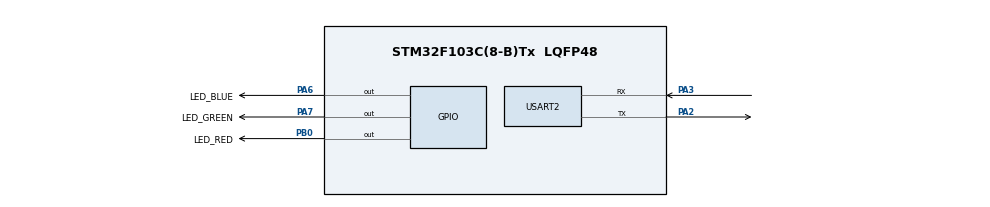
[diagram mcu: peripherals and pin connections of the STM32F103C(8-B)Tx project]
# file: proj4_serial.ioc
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Dma.Request0=USART2_RX
Dma.Request1=USART2_TX
Dma.USART2_RX.0.Direction=DMA_PERIPH_TO_MEMORY
Dma.USART2_RX.0.Instance=DMA1_Channel6
Dma.USART2_RX.0.MemDataAlignment=DMA_MDATAALIGN_BYTE
Dma.USART2_RX.0.MemInc=DMA_MINC_ENABLE
Dma.USART2_RX.0.Mode=DMA_NORMAL
Dma.USART2_RX.0.PeriphDataAlignment=DMA_PDATAALIGN_BYTE
Dma.USART2_RX.0.PeriphInc=DMA_PINC_DISABLE
Dma.USART2_RX.0.Priority=DMA_PRIORITY_LOW
Dma.USART2_TX.1.Direction=DMA_MEMORY_TO_PERIPH
Dma.USART2_TX.1.Instance=DMA1_Channel7
Dma.USART2_TX.1.MemDataAlignment=DMA_MDATAALIGN_BYTE
Dma.USART2_TX.1.MemInc=DMA_MINC_ENABLE
Dma.USART2_TX.1.Mode=DMA_NORMAL
Dma.USART2_TX.1.PeriphDataAlignment=DMA_PDATAALIGN_BYTE
Dma.USART2_TX.1.PeriphInc=DMA_PINC_DISABLE
Dma.USART2_TX.1.Priority=DMA_PRIORITY_LOW
Mcu.Family=STM32F1
Mcu.Name=STM32F103C(8-B)Tx
Mcu.Package=LQFP48
NVIC.DMA1_Channel6_IRQn=true\:0\:0\:false\:false\:true\:false\:true\:true
NVIC.DMA1_Channel7_IRQn=true\:0\:0\:false\:false\:true\:false\:true\:true
NVIC.PriorityGroup=NVIC_PRIORITYGROUP_4
NVIC.USART2_IRQn=true\:0\:0\:false\:false\:true\:true\:true\:true
PA13.Mode=Serial_Wire
PA13.Signal=SYS_JTMS-SWDIO
PA14.Mode=Serial_Wire
PA14.Signal=SYS_JTCK-SWCLK
PA2.Mode=Asynchronous
PA2.Signal=USART2_TX
PA3.Mode=Asynchronous
PA3.Signal=USART2_RX
PA6.GPIO_Label=LED_BLUE
PA6.Signal=GPIO_Output
PA7.GPIO_Label=LED_GREEN
PA7.Signal=GPIO_Output
PB0.GPIO_Label=LED_RED
PB0.Signal=GPIO_Output
ProjectManager.HeapSize=0x200
ProjectManager.StackSize=0x400
ProjectManager.TargetToolchain=STM32CubeIDE
RCC.APB1Freq_Value=8000000
RCC.APB2Freq_Value=8000000
USART2.VirtualMode=VM_ASYNC
board=custom

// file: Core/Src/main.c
/* USER CODE BEGIN Header */
/**
  ******************************************************************************
  * @file           : main.c
  * @brief          : Main program body
  ******************************************************************************
  * @attention
  *
  * Copyright (c) 2024 STMicroelectronics.
  * All rights reserved.
  *
  * This software is licensed under terms that can be found in the LICENSE file
  * in the root directory of this software component.
  * If no LICENSE file comes with this software, it is provided AS-IS.
  *
  ******************************************************************************
  */
/* USER CODE END Header */
#include "main.h"

/* USER CODE BEGIN Includes */
#include <string.h>
/* USER CODE END Includes */

UART_HandleTypeDef huart2;
DMA_HandleTypeDef hdma_usart2_rx;
DMA_HandleTypeDef hdma_usart2_tx;

/* USER CODE BEGIN PV */
uint8_t receiveData[50];
/* USER CODE END PV */

void SystemClock_Config(void);
static void MX_GPIO_Init(void);
static void MX_DMA_Init(void);
static void MX_USART2_UART_Init(void);

/* USER CODE BEGIN 0 */
void HAL_UART_RxCpltCallback(UART_HandleTypeDef *huart){
	HAL_UART_Transmit_DMA(&huart2, receiveData , 2);
	GPIO_PinState state = GPIO_PIN_SET;
	if(receiveData[1] == '0'){
	  state = GPIO_PIN_RESET;
	}
	if(receiveData[0] == 'R'){
	  HAL_GPIO_WritePin(LED_RED_GPIO_Port, LED_RED_Pin, state);
	}else if(receiveData[0] == 'G'){
	  HAL_GPIO_WritePin(LED_GREEN_GPIO_Port, LED_GREEN_Pin, state);
	}else if(receiveData[0] == 'B'){
	  HAL_GPIO_WritePin(LED_BLUE_GPIO_Port, LED_BLUE_Pin, state);
	}
	HAL_UART_Receive_DMA(huart, receiveData, 2);
}

void HAL_UARTEx_RxEventCallback(UART_HandleTypeDef *huart, uint16_t Size){
	if(huart == &huart2){
		HAL_UART_Transmit_DMA(&huart2, receiveData, Size);
		GPIO_PinState state = GPIO_PIN_SET;
		if(receiveData[1] == '0'){
		  state = GPIO_PIN_RESET;
		}
		if(receiveData[0] == 'R'){
		  HAL_GPIO_WritePin(LED_RED_GPIO_Port, LED_RED_Pin, state);
		}else if(receiveData[0] == 'G'){
		  HAL_GPIO_WritePin(LED_GREEN_GPIO_Port, LED_GREEN_Pin, state);
		}else if(receiveData[0] == 'B'){
		  HAL_GPIO_WritePin(LED_BLUE_GPIO_Port, LED_BLUE_Pin, state);
		}

		HAL_UARTEx_ReceiveToIdle_DMA(&huart2, receiveData, sizeof(receiveData));
		__HAL_DMA_DISABLE_IT(&hdma_usart2_rx,DMA_IT_HT);
	}
}
/* USER CODE END 0 */

int main(void)
{

  /* MCU Configuration--------------------------------------------------------*/

  /* Reset of all peripherals, Initializes the Flash interface and the Systick. */
  HAL_Init();

  /* Configure the system clock */
  SystemClock_Config();

  /* Initialize all configured peripherals */
  MX_GPIO_Init();
  MX_DMA_Init();
  MX_USART2_UART_Init();
  /* USER CODE BEGIN 2 */

//  HAL_UART_Receive_DMA(&huart2, receiveData, 2 );
  HAL_UARTEx_ReceiveToIdle_DMA(&huart2, receiveData, sizeof(receiveData));
  __HAL_DMA_DISABLE_IT(&hdma_usart2_rx,DMA_IT_HT);
  /* USER CODE END 2 */

  /* Infinite loop */
  while (1)
  {

  }
}

void SystemClock_Config(void)
{
  RCC_OscInitTypeDef RCC_OscInitStruct = {0};
  RCC_ClkInitTypeDef RCC_ClkInitStruct = {0};

  /** Initializes the RCC Oscillators according to the specified parameters
  * in the RCC_OscInitTypeDef structure.
  */
  RCC_OscInitStruct.OscillatorType = RCC_OSCILLATORTYPE_HSI;
  RCC_OscInitStruct.HSIState = RCC_HSI_ON;
  RCC_OscInitStruct.HSICalibrationValue = RCC_HSICALIBRATION_DEFAULT;
  RCC_OscInitStruct.PLL.PLLState = RCC_PLL_NONE;
  if (HAL_RCC_OscConfig(&RCC_OscInitStruct) != HAL_OK)
  {
    Error_Handler();
  }

  /** Initializes the CPU, AHB and APB buses clocks
  */
  RCC_ClkInitStruct.ClockType = RCC_CLOCKTYPE_HCLK|RCC_CLOCKTYPE_SYSCLK
                              |RCC_CLOCKTYPE_PCLK1|RCC_CLOCKTYPE_PCLK2;
  RCC_ClkInitStruct.SYSCLKSource = RCC_SYSCLKSOURCE_HSI;
  RCC_ClkInitStruct.AHBCLKDivider = RCC_SYSCLK_DIV1;
  RCC_ClkInitStruct.APB1CLKDivider = RCC_HCLK_DIV1;
  RCC_ClkInitStruct.APB2CLKDivider = RCC_HCLK_DIV1;

  if (HAL_RCC_ClockConfig(&RCC_ClkInitStruct, FLASH_LATENCY_0) != HAL_OK)
  {
    Error_Handler();
  }
}

static void MX_USART2_UART_Init(void)
{

  huart2.Instance = USART2;
  huart2.Init.BaudRate = 115200;
  huart2.Init.WordLength = UART_WORDLENGTH_8B;
  huart2.Init.StopBits = UART_STOPBITS_1;
  huart2.Init.Parity = UART_PARITY_NONE;
  huart2.Init.Mode = UART_MODE_TX_RX;
  huart2.Init.HwFlowCtl = UART_HWCONTROL_NONE;
  huart2.Init.OverSampling = UART_OVERSAMPLING_16;
  if (HAL_UART_Init(&huart2) != HAL_OK)
  {
    Error_Handler();
  }

}

static void MX_DMA_Init(void)
{

  /* DMA controller clock enable */
  __HAL_RCC_DMA1_CLK_ENABLE();

  /* DMA interrupt init */
  /* DMA1_Channel6_IRQn interrupt configuration */
  HAL_NVIC_SetPriority(DMA1_Channel6_IRQn, 0, 0);
  HAL_NVIC_EnableIRQ(DMA1_Channel6_IRQn);
  /* DMA1_Channel7_IRQn interrupt configuration */
  HAL_NVIC_SetPriority(DMA1_Channel7_IRQn, 0, 0);
  HAL_NVIC_EnableIRQ(DMA1_Channel7_IRQn);

}

static void MX_GPIO_Init(void)
{
  GPIO_InitTypeDef GPIO_InitStruct = {0};

  /* GPIO Ports Clock Enable */
  __HAL_RCC_GPIOA_CLK_ENABLE();
  __HAL_RCC_GPIOB_CLK_ENABLE();

  /*Configure GPIO pin Output Level */
  HAL_GPIO_WritePin(GPIOA, LED_BLUE_Pin|LED_GREEN_Pin, GPIO_PIN_RESET);

  /*Configure GPIO pin Output Level */
  HAL_GPIO_WritePin(LED_RED_GPIO_Port, LED_RED_Pin, GPIO_PIN_RESET);

  /*Configure GPIO pins : LED_BLUE_Pin LED_GREEN_Pin */
  GPIO_InitStruct.Pin = LED_BLUE_Pin|LED_GREEN_Pin;
  GPIO_InitStruct.Mode = GPIO_MODE_OUTPUT_PP;
  GPIO_InitStruct.Pull = GPIO_NOPULL;
  GPIO_InitStruct.Speed = GPIO_SPEED_FREQ_LOW;
  HAL_GPIO_Init(GPIOA, &GPIO_InitStruct);

  /*Configure GPIO pin : LED_RED_Pin */
  GPIO_InitStruct.Pin = LED_RED_Pin;
  GPIO_InitStruct.Mode = GPIO_MODE_OUTPUT_PP;
  GPIO_InitStruct.Pull = GPIO_NOPULL;
  GPIO_InitStruct.Speed = GPIO_SPEED_FREQ_LOW;
  HAL_GPIO_Init(LED_RED_GPIO_Port, &GPIO_InitStruct);

}

void Error_Handler(void)
{
  __disable_irq();
  while (1)
  {
  }
}
